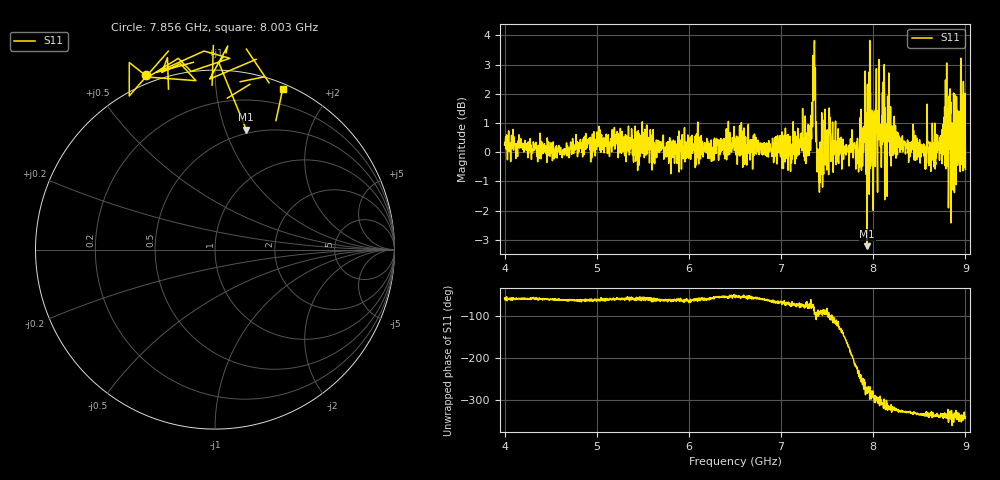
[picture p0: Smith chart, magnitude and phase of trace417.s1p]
! Created with skrf 1.8.0 (http://scikit-rf.org).
# Hz S RI R 50.0
!freq ReS11 ImS11
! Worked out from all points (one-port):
!   1601 points, 4 GHz to 9 GHz, reference 50 ohm
!   lowest |S11| = -3.2 dB at 7.934 GHz (marker M1), VSWR 5.45, Z = 23.2 + j59.2 ohm
!   |S11| at or under -10 dB: nowhere
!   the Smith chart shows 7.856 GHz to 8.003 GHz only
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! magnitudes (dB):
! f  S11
! 4 GHz  0.3
! 4.625 GHz  -0.2
! 5.25 GHz  0.0
! 5.875 GHz  0.1
! 6.5 GHz  0.4
! 7.125 GHz  0.2
! 7.294 GHz  0.9
! 7.35 GHz  2.4
! 7.372 GHz  2.9
! 7.412 GHz  -0.2
! 7.509 GHz  0.5
! 7.591 GHz  1.1
! 7.75 GHz  0.0
! 7.828 GHz  0.5
! 7.891 GHz  0.7
! 7.934 GHz  -3.2
! 7.962 GHz  3.8
! 7.997 GHz  1.3
! 8.05 GHz  1.4
! 8.066 GHz  0.6
! 8.178 GHz  1.5
! 8.209 GHz  0.7
! 8.375 GHz  0.3
! 8.638 GHz  0.3
! 8.816 GHz  -1.9
! 8.869 GHz  -1.3
! 8.953 GHz  -0.4
! 9 GHz  -0.6
